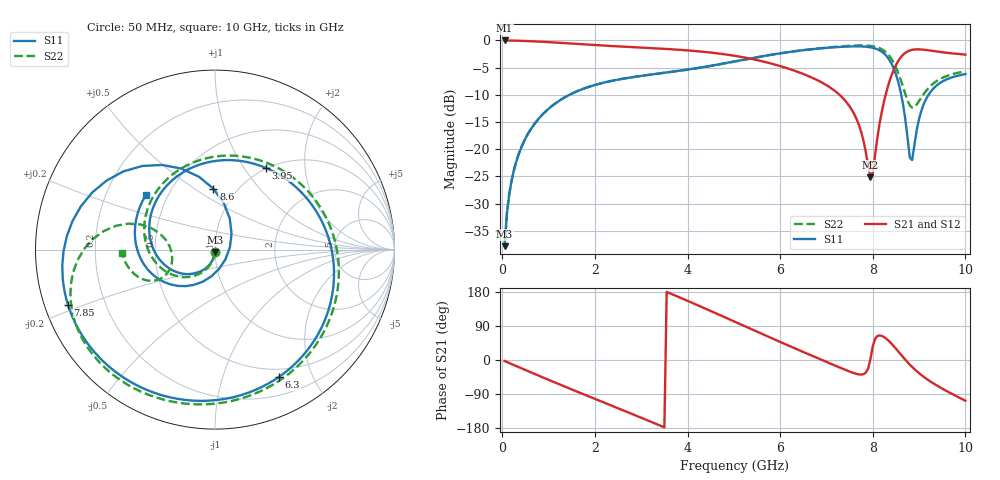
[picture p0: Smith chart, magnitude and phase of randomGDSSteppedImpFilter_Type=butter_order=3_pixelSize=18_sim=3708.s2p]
! freq	dB(S11)	phase(S11)	dB(S12)	phase(S12)
!  dB(S21)	phase(S21)	dB(S22)	phase(S22)
!S-par simulation data
#  GHz  S  DB  R 50
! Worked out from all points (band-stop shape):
!   200 points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, 50 MHz to 10 GHz, reference 50 ohm
!   highest |S21| = -0.01 dB at 50 MHz (marker M1); lowest = -25.2 dB at 7.95 GHz (marker M2)
!   |S21| within 3 dB of the highest: start of sweep to 5.144 GHz; 8.614 GHz to end of sweep
!   lowest |S11| = -37.8 dB at 50 MHz (marker M3), VSWR 1.03, Z = 49.9 - j1.29 ohm
!   |S11| at or under -10 dB: start of sweep to 1.45 GHz; 8.614 GHz to 9.203 GHz (589.5 MHz wide, 6.62 % of centre)
!   |S22| runs from -37.8 to -0.9 dB; largest |S21 - S12| = 0
!   S11 on the Smith chart (normalised r, x): 50 MHz: 1.00, -0.03; 3.95 GHz: 0.99, +1.26; 6.3 GHz: 0.40, -1.55; 7.85 GHz: 0.07, -0.18; 8.6 GHz: 0.78, +0.60; 10 GHz: 0.38, +0.30
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0.05  -37.80 -92.5  -0.01 -2.7  -0.01 -2.7  -37.78 -92.3
0.2  -25.78 -101.5  -0.03 -10.7  -0.03 -10.7  -25.77 -100.1
0.5  -18.02 -118.7  -0.11 -26.4  -0.11 -26.4  -17.99 -115.4
1.15  -11.55 -154.5  -0.39 -60.0  -0.39 -60.0  -11.53 -146.8
1.75  -8.88 173.2  -0.72 -90.2  -0.72 -90.2  -8.88 -175.1
2.65  -6.97 125.8  -1.17 -134.8  -1.17 -134.8  -6.97 143.0
3.4  -6.06 86.7  -1.50 -172.6  -1.50 -172.6  -6.07 106.6
3.95  -5.42 58.2  -1.80 158.8  -1.80 158.8  -5.44 78.1
5.05  -3.80 1.6  -2.87 99.4  -2.87 99.4  -3.83 16.5
5.7  -2.78 -32.0  -4.02 63.9  -4.02 63.9  -2.80 -20.7
6.3  -2.01 -63.3  -5.54 31.6  -5.54 31.6  -2.00 -53.7
6.7  -1.61 -84.7  -6.89 10.6  -6.89 10.6  -1.58 -74.9
7.5  -1.11 -132.4  -12.12 -30.5  -12.12 -30.5  -0.99 -117.4
7.85  -1.16 -159.5  -20.51 -33.3  -20.51 -33.3  -0.93 -138.8
7.95  -1.27 -168.9  -25.15 2.5  -25.15 2.5  -1.00 -145.8
8.35  -3.47 139.5  -7.81 49.8  -7.81 49.8  -2.76 179.6
8.6  -9.39 91.5  -3.15 15.4  -3.15 15.4  -7.17 161.4
8.85  -21.99 -42.8  -1.73 -18.3  -1.73 -18.3  -12.35 -174.9
9  -14.41 -110.6  -1.64 -34.9  -1.64 -34.9  -11.13 -156.0
9.2  -10.04 -141.9  -1.81 -53.1  -1.81 -53.1  -8.79 -152.2
9.6  -7.14 177.2  -2.28 -82.3  -2.28 -82.3  -6.52 -163.7
10  -6.19 142.1  -2.61 -107.4  -2.61 -107.4  -5.70 -177.9
